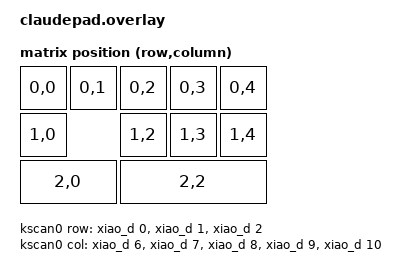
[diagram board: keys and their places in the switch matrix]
/*
 * ClaudePad shield
 *
 * Seeed XIAO nRF52840 (ZMK board: xiao_ble//zmk), hand-wired.
 *
 * 3 rows x 5 columns, 11 used intersections:
 *   row 0: PERM MODEL CMD UP VOICE
 *   row 1: STOP (empty) LEFT DOWN RIGHT
 *   row 2: ENTER (C0)  SPACE (C2)
 *
 * ENTER and SPACE are multiple switches wired in parallel to one
 * intersection. There is no approval lever; R1/C1 is unused.
 *
 * Rows use D0/D1/D2 (pulled down). Columns use D6-D10 (active high).
 * The XIAO's USB-C + RESET button share one edge; keep both accessible.
 */

#include <dt-bindings/zmk/matrix_transform.h>
#include <physical_layouts.dtsi>

/ {
    chosen {
        zmk,kscan = &kscan0;
        zmk,physical-layout = &claudepad_layout;
    };

    default_transform: keymap_transform_0 {
        compatible = "zmk,matrix-transform";
        columns = <5>;
        rows = <3>;
        map = <
            RC(0,0) RC(0,1) RC(0,2) RC(0,3) RC(0,4)
            RC(1,0) RC(1,2) RC(1,3) RC(1,4)
            RC(2,0) RC(2,2)
        >;
    };

    kscan0: kscan {
        compatible = "zmk,kscan-gpio-matrix";
        wakeup-source;

        diode-direction = "col2row";
        row-gpios
            = <&xiao_d 0 (GPIO_ACTIVE_HIGH | GPIO_PULL_DOWN)>
            , <&xiao_d 1 (GPIO_ACTIVE_HIGH | GPIO_PULL_DOWN)>
            , <&xiao_d 2 (GPIO_ACTIVE_HIGH | GPIO_PULL_DOWN)>
            ;
        col-gpios
            = <&xiao_d 6 GPIO_ACTIVE_HIGH>
            , <&xiao_d 7 GPIO_ACTIVE_HIGH>
            , <&xiao_d 8 GPIO_ACTIVE_HIGH>
            , <&xiao_d 9 GPIO_ACTIVE_HIGH>
            , <&xiao_d 10 GPIO_ACTIVE_HIGH>
            ;
    };

    /*
     * Physical order follows the keymap order:
     * PERM MODEL CMD UP VOICE STOP LEFT DOWN RIGHT ENTER SPACE
     *
     * Horizontal pitch 18 mm and vertical pitch 17 mm are represented as
     * 100 x 94 units. R1/C1 is an unused spacer position.
     */
    claudepad_layout: claudepad_layout {
        compatible = "zmk,physical-layout";
        display-name = "ClaudePad";

        keys
            = <&key_physical_attrs 100 94   0   0 0 0 0>
            , <&key_physical_attrs 100 94 100   0 0 0 0>
            , <&key_physical_attrs 100 94 200   0 0 0 0>
            , <&key_physical_attrs 100 94 300   0 0 0 0>
            , <&key_physical_attrs 100 94 400   0 0 0 0>
            , <&key_physical_attrs 100 94   0  94 0 0 0>
            , <&key_physical_attrs 100 94 200  94 0 0 0>
            , <&key_physical_attrs 100 94 300  94 0 0 0>
            , <&key_physical_attrs 100 94 400  94 0 0 0>
            , <&key_physical_attrs 200 94   0 188 0 0 0>
            , <&key_physical_attrs 300 94 200 188 0 0 0>
            ;
    };
};

&claudepad_layout {
    transform = <&default_transform>;
};
